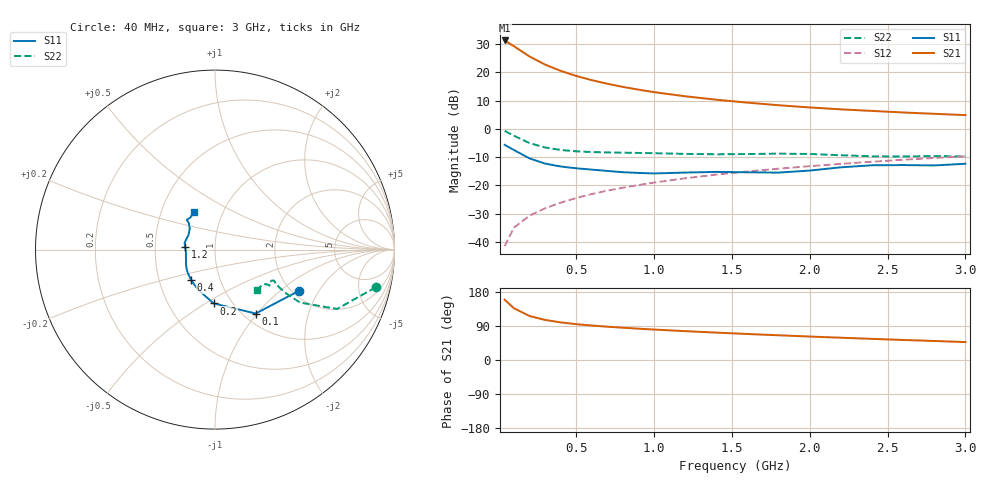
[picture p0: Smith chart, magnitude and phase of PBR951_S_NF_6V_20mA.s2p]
! Filename:  PBR951P.S2P  Version:  3.0
! Philips part #:  PBR951  Date: July 1998
! Bias condition:  Vce=6V, Ic=20mA
#  MHz  S  MA  R 50
! Freq  S11  S21  S12  S22
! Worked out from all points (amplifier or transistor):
!   21 points, 40 MHz to 3 GHz, reference 50 ohm
!   highest |S21| = 31.3 dB at 40 MHz (marker M1)
!   |S21| within 3 dB of that: start of sweep to 126.5 MHz
!   unconditionally stable (mu >= 1): 697.5 MHz to 2.172 GHz
!   at 300 MHz: K = 0.86, MSG = 25.4 dB, |S12| = -28.1 dB
!   at 1 GHz: K = 1.03, MAG = 15.0 dB, |S12| = -19.0 dB
!   at 3 GHz: K = 0.96, MSG = 7.3 dB, |S12| = -9.7 dB
!   lowest NFmin = 1.78 dB at 500 MHz
!   S11 on the Smith chart (normalised r, x): 40 MHz: 2.18, -1.37; 100 MHz: 1.13, -0.98; 200 MHz: 0.82, -0.54; 400 MHz: 0.73, -0.26; 1.2 GHz: 0.71, +0.03; 3 GHz: 0.73, +0.33
40  0.5225 -26.0  36.63 159.3  0.008413 80.3  0.9202 -13.2
100  0.4223 -57.5  28.96 136.5  0.01786 72.4  0.7563 -25.9
200  0.3002 -91.3  19.07 116.1  0.02914 70.5  0.5599 -31.9
300  0.243 -112.8  13.71 105.7  0.03928 72.3  0.4686 -31.7
400  0.216 -127.9  10.62 99.2  0.04948 73.8  0.424 -30.7
500  0.2006 -138.8  8.632 94.6  0.05973 75.0  0.4007 -29.9
600  0.1902 -146.6  7.266 91.0  0.07035 75.9  0.3888 -29.4
700  0.1802 -154.0  6.281 87.9  0.08076 76.4  0.3827 -28.8
800  0.1711 -160.8  5.525 85.2  0.09105 76.8  0.3791 -28.4
900  0.1663 -167.4  4.939 82.6  0.1017 76.9  0.3753 -28.0
1000  0.1626 -174.4  4.464 80.3  0.1121 76.9  0.3712 -27.7
1200  0.1686 174.2  3.769 76.1  0.1337 76.6  0.3607 -28.5
1400  0.1733 167.0  3.28 72.3  0.155 76.0  0.355 -30.7
1600  0.1705 161.0  2.909 68.6  0.1762 75.4  0.3587 -32.9
1800  0.1684 151.5  2.616 65.2  0.1977 74.6  0.3645 -33.5
2000  0.1829 140.2  2.393 61.9  0.2187 73.5  0.359 -33.4
2200  0.2088 134.4  2.214 58.8  0.2403 72.4  0.3417 -34.2
2400  0.227 133.7  2.077 55.8  0.2621 71.3  0.3272 -37.8
2600  0.2288 133.2  1.949 52.9  0.2841 70.2  0.3251 -42.4
2800  0.2253 127.2  1.846 50.2  0.3056 68.9  0.3303 -44.5
3000  0.2414 118.8  1.753 47.3  0.327 67.5  0.3244 -43.8
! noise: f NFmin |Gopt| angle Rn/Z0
500  1.776  0.127  138.3  0.127
800  1.779  0.201  167.2  0.091
900  1.827  0.162  162.8  0.13
1000  1.894  0.151  162.8  0.133
1500  2.141  0.354  -178.1  0.057
2000  2.546  0.397  -131.4  0.213
